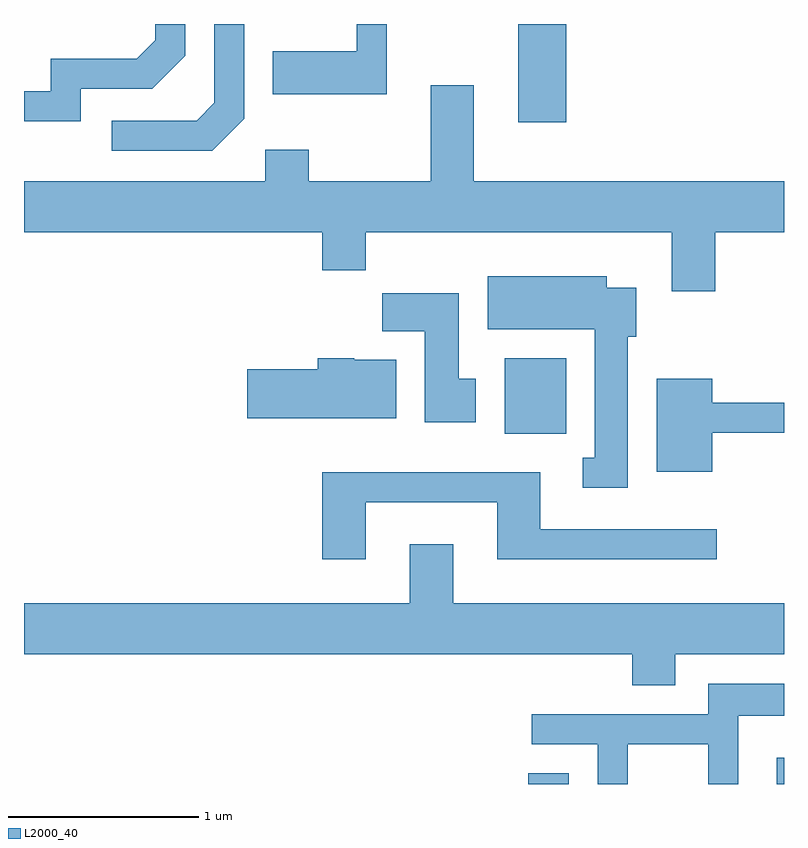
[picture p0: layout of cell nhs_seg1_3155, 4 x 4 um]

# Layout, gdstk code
import gdstk
lib = gdstk.Library(unit=1e-6, precision=1e-09)
def R(c, l, rs):  # rectangles x0, y0, x1, y1
    for r in rs: c.add(gdstk.rectangle(r[:2], r[2:], *l))
def P(c, l, *ps):  # polygons
    for p in ps: c.add(gdstk.Polygon(p, *l))
L2000_40 = (2000, 40)

nhs_seg1_3155 = lib.new_cell('nhs_seg1_3155')
R(nhs_seg1_3155, L2000_40, [(282.266,967.712,282.479,967.769), (283.573,967.712,283.611,967.849), (282.141,969.556,282.464,969.954), (282.211,971.196,282.464,971.712)])
P(nhs_seg1_3155, L2000_40, [(279.909,971.371),(280.287,971.371),(280.459,971.544),(280.459,971.712),(280.301,971.712),(280.301,971.627),(280.204,971.529),(279.751,971.529),(279.751,971.359),(279.611,971.359),(279.611,971.201),(279.909,971.201)],
  [(281.519,971.712),(281.361,971.712),(281.361,971.569),(280.921,971.569),(280.921,971.341),(281.519,971.341)],
  [(280.769,971.214),(280.769,971.712),(280.611,971.712),(280.611,971.297),(280.519,971.204),(280.073,971.204),(280.073,971.046),(280.602,971.046)],
  [(283.249,970.616),(283.611,970.616),(283.611,970.884),(281.979,970.884),(281.979,971.389),(281.751,971.389),(281.751,970.884),(281.109,970.884),(281.109,971.049),(280.881,971.049),(280.881,970.884),(279.611,970.884),(279.611,970.616),(281.181,970.616),(281.181,970.416),(281.409,970.416),(281.409,970.616),(283.021,970.616),(283.021,970.306),(283.249,970.306)],
  [(282.789,970.066),(282.834,970.066),(282.834,970.324),(282.679,970.324),(282.679,970.384),(282.051,970.384),(282.051,970.106),(282.616,970.106),(282.616,969.429),(282.553,969.429),(282.553,969.271),(282.789,969.271)],
  [(281.989,969.844),(281.899,969.844),(281.899,970.294),(281.496,970.294),(281.496,970.096),(281.721,970.096),(281.721,969.616),(281.989,969.616)],
  [(281.569,969.944),(281.35,969.944),(281.35,969.954),(281.156,969.954),(281.156,969.894),(280.786,969.894),(280.786,969.636),(281.569,969.636)],
  [(283.234,969.561),(283.611,969.561),(283.611,969.719),(283.234,969.719),(283.234,969.844),(282.941,969.844),(282.941,969.356),(283.234,969.356)],
  [(281.409,969.196),(282.101,969.196),(282.101,968.896),(283.258,968.896),(283.258,969.054),(282.329,969.054),(282.329,969.354),(281.181,969.354),(281.181,968.896),(281.409,968.896)],
  [(283.039,968.396),(283.611,968.396),(283.611,968.664),(281.869,968.664),(281.869,968.974),(281.641,968.974),(281.641,968.664),(279.611,968.664),(279.611,968.396),(282.811,968.396),(282.811,968.231),(283.039,968.231)],
  [(282.789,967.921),(283.211,967.921),(283.211,967.712),(283.369,967.712),(283.369,968.071),(283.611,968.071),(283.611,968.239),(283.211,968.239),(283.211,968.079),(282.283,968.079),(282.283,967.921),(282.631,967.921),(282.631,967.712),(282.789,967.712)])

lib.write_gds('nhs_seg1_3155.gds')
